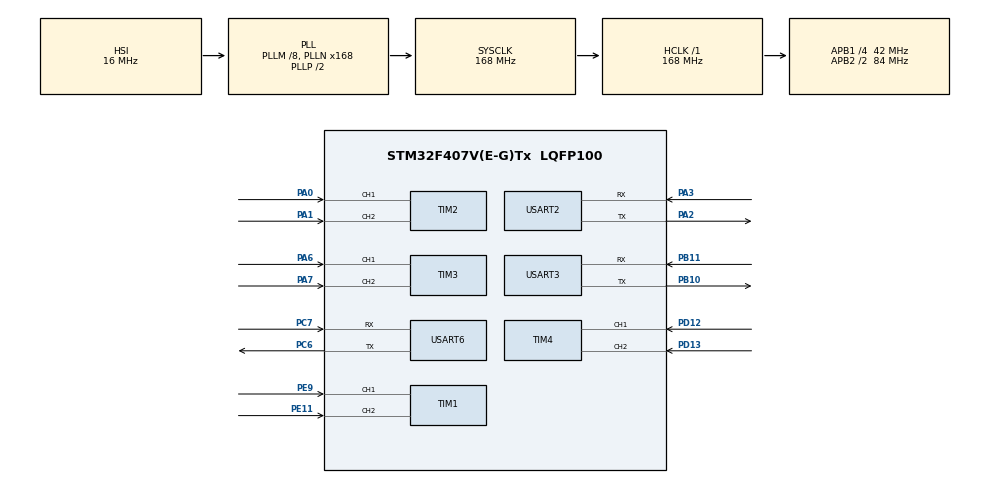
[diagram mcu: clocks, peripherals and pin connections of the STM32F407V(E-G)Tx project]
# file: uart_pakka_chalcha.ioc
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Dma.Request0=USART3_RX
Dma.Request1=USART3_TX
Dma.Request2=USART6_RX
Dma.Request3=USART6_TX
Dma.USART3_RX.0.Direction=DMA_PERIPH_TO_MEMORY
Dma.USART3_RX.0.FIFOMode=DMA_FIFOMODE_DISABLE
Dma.USART3_RX.0.Instance=DMA1_Stream1
Dma.USART3_RX.0.MemDataAlignment=DMA_MDATAALIGN_BYTE
Dma.USART3_RX.0.MemInc=DMA_MINC_ENABLE
Dma.USART3_RX.0.Mode=DMA_NORMAL
Dma.USART3_RX.0.PeriphDataAlignment=DMA_PDATAALIGN_BYTE
Dma.USART3_RX.0.PeriphInc=DMA_PINC_DISABLE
Dma.USART3_RX.0.Priority=DMA_PRIORITY_LOW
Dma.USART3_TX.1.Direction=DMA_MEMORY_TO_PERIPH
Dma.USART3_TX.1.FIFOMode=DMA_FIFOMODE_DISABLE
Dma.USART3_TX.1.Instance=DMA1_Stream3
Dma.USART3_TX.1.MemDataAlignment=DMA_MDATAALIGN_BYTE
Dma.USART3_TX.1.MemInc=DMA_MINC_ENABLE
Dma.USART3_TX.1.Mode=DMA_NORMAL
Dma.USART3_TX.1.PeriphDataAlignment=DMA_PDATAALIGN_BYTE
Dma.USART3_TX.1.PeriphInc=DMA_PINC_DISABLE
Dma.USART3_TX.1.Priority=DMA_PRIORITY_LOW
Dma.USART6_RX.2.Direction=DMA_PERIPH_TO_MEMORY
Dma.USART6_RX.2.FIFOMode=DMA_FIFOMODE_DISABLE
Dma.USART6_RX.2.Instance=DMA2_Stream1
Dma.USART6_RX.2.MemDataAlignment=DMA_MDATAALIGN_BYTE
Dma.USART6_RX.2.MemInc=DMA_MINC_ENABLE
Dma.USART6_RX.2.Mode=DMA_NORMAL
Dma.USART6_RX.2.PeriphDataAlignment=DMA_PDATAALIGN_BYTE
Dma.USART6_RX.2.PeriphInc=DMA_PINC_DISABLE
Dma.USART6_RX.2.Priority=DMA_PRIORITY_LOW
Dma.USART6_TX.3.Direction=DMA_MEMORY_TO_PERIPH
Dma.USART6_TX.3.FIFOMode=DMA_FIFOMODE_DISABLE
Dma.USART6_TX.3.Instance=DMA2_Stream6
Dma.USART6_TX.3.MemDataAlignment=DMA_MDATAALIGN_BYTE
Dma.USART6_TX.3.MemInc=DMA_MINC_ENABLE
Dma.USART6_TX.3.Mode=DMA_NORMAL
Dma.USART6_TX.3.PeriphDataAlignment=DMA_PDATAALIGN_BYTE
Dma.USART6_TX.3.PeriphInc=DMA_PINC_DISABLE
Dma.USART6_TX.3.Priority=DMA_PRIORITY_LOW
Mcu.Family=STM32F4
Mcu.Name=STM32F407V(E-G)Tx
Mcu.Package=LQFP100
NVIC.DMA1_Stream1_IRQn=true\:0\:0\:false\:false\:true\:false
NVIC.DMA1_Stream3_IRQn=true\:0\:0\:false\:false\:true\:false
NVIC.DMA2_Stream1_IRQn=true\:0\:0\:false\:false\:true\:false
NVIC.DMA2_Stream6_IRQn=true\:0\:0\:false\:false\:true\:false
NVIC.PriorityGroup=NVIC_PRIORITYGROUP_0
NVIC.USART3_IRQn=true\:0\:0\:false\:false\:true\:true
NVIC.USART6_IRQn=true\:0\:0\:false\:false\:true\:true
PA0-WKUP.Signal=S_TIM2_CH1_ETR
PA1.Signal=S_TIM2_CH2
PA13.Mode=Trace_Asynchronous_SW
PA13.Signal=SYS_JTMS-SWDIO
PA14.Mode=Trace_Asynchronous_SW
PA14.Signal=SYS_JTCK-SWCLK
PA2.Mode=Asynchronous
PA2.Signal=USART2_TX
PA3.Mode=Asynchronous
PA3.Signal=USART2_RX
PA6.Signal=S_TIM3_CH1
PA7.Signal=S_TIM3_CH2
PB10.Mode=Asynchronous
PB10.Signal=USART3_TX
PB11.Mode=Asynchronous
PB11.Signal=USART3_RX
PB3.Mode=Trace_Asynchronous_SW
PB3.Signal=SYS_JTDO-SWO
PC6.Mode=Asynchronous
PC6.Signal=USART6_TX
PC7.Mode=Asynchronous
PC7.Signal=USART6_RX
PD12.Signal=S_TIM4_CH1
PD13.Signal=S_TIM4_CH2
PE11.Signal=S_TIM1_CH2
PE9.Signal=S_TIM1_CH1
PH0-OSC_IN.Mode=HSE-External-Oscillator
PH0-OSC_IN.Signal=RCC_OSC_IN
PH1-OSC_OUT.Mode=HSE-External-Oscillator
PH1-OSC_OUT.Signal=RCC_OSC_OUT
ProjectManager.HeapSize=0x200
ProjectManager.StackSize=0x400
ProjectManager.TargetToolchain=MDK-ARM V5
RCC.48MHZClocksFreq_Value=48000000
RCC.AHBFreq_Value=168000000
RCC.APB1CLKDivider=RCC_HCLK_DIV4
RCC.APB1Freq_Value=42000000
RCC.APB1TimFreq_Value=84000000
RCC.APB2CLKDivider=RCC_HCLK_DIV2
RCC.APB2Freq_Value=84000000
RCC.APB2TimFreq_Value=168000000
RCC.CortexFreq_Value=168000000
RCC.HCLKFreq_Value=168000000
RCC.HSE_VALUE=8000000
RCC.HSI_VALUE=16000000
RCC.LSE_VALUE=32768
RCC.PLLM=8
RCC.PLLN=168
RCC.PLLQ=7
RCC.SYSCLKFreq_VALUE=168000000
RCC.SYSCLKSource=RCC_SYSCLKSOURCE_PLLCLK
RCC.VCOOutputFreq_Value=336000000
SH.S_TIM1_CH1.0=TIM1_CH1,Encoder_Interface
SH.S_TIM1_CH2.0=TIM1_CH2,Encoder_Interface
SH.S_TIM2_CH1_ETR.0=TIM2_CH1,Encoder_Interface
SH.S_TIM2_CH2.0=TIM2_CH2,Encoder_Interface
SH.S_TIM3_CH1.0=TIM3_CH1,Encoder_Interface
SH.S_TIM3_CH2.0=TIM3_CH2,Encoder_Interface
SH.S_TIM4_CH1.0=TIM4_CH1,Encoder_Interface
SH.S_TIM4_CH2.0=TIM4_CH2,Encoder_Interface
USART2.VirtualMode=VM_ASYNC
USART3.VirtualMode=VM_ASYNC
USART6.VirtualMode=VM_ASYNC
board=STM32F4DISCOVERY

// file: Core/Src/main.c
/**
  ******************************************************************************
  * @file           : main.c
  * @brief          : Main program body
  ******************************************************************************
  ** This notice applies to any and all portions of this file
  * that are not between comment pairs USER CODE BEGIN and
  * USER CODE END. Other portions of this file, whether
  * inserted by the user or by software development tools
  * are owned by their respective copyright owners.
  *
  * COPYRIGHT(c) 2018 STMicroelectronics
  *
  * Redistribution and use in source and binary forms, with or without modification,
  * are permitted provided that the following conditions are met:
  *   1. Redistributions of source code must retain the above copyright notice,
  *      this list of conditions and the following disclaimer.
  *   2. Redistributions in binary form must reproduce the above copyright notice,
  *      this list of conditions and the following disclaimer in the documentation
  *      and/or other materials provided with the distribution.
  *   3. Neither the name of STMicroelectronics nor the names of its contributors
  *      may be used to endorse or promote products derived from this software
  *      without specific prior written permission.
  *
  * THIS SOFTWARE IS PROVIDED BY THE COPYRIGHT HOLDERS AND CONTRIBUTORS "AS IS"
  * AND ANY EXPRESS OR IMPLIED WARRANTIES, INCLUDING, BUT NOT LIMITED TO, THE
  * IMPLIED WARRANTIES OF MERCHANTABILITY AND FITNESS FOR A PARTICULAR PURPOSE ARE
  * DISCLAIMED. IN NO EVENT SHALL THE COPYRIGHT HOLDER OR CONTRIBUTORS BE LIABLE
  * FOR ANY DIRECT, INDIRECT, INCIDENTAL, SPECIAL, EXEMPLARY, OR CONSEQUENTIAL
  * DAMAGES (INCLUDING, BUT NOT LIMITED TO, PROCUREMENT OF SUBSTITUTE GOODS OR
  * SERVICES; LOSS OF USE, DATA, OR PROFITS; OR BUSINESS INTERRUPTION) HOWEVER
  * CAUSED AND ON ANY THEORY OF LIABILITY, WHETHER IN CONTRACT, STRICT LIABILITY,
  * OR TORT (INCLUDING NEGLIGENCE OR OTHERWISE) ARISING IN ANY WAY OUT OF THE USE
  * OF THIS SOFTWARE, EVEN IF ADVISED OF THE POSSIBILITY OF SUCH DAMAGE.
  *
  ******************************************************************************
  */
#include "main.h"
#include "stm32f4xx_hal.h"
#include "dma.h"
#include "tim.h"
#include "usart.h"
#include "gpio.h"

/* USER CODE BEGIN Includes */
	#include "robot.h"
	#include "defines.h"
/* USER CODE END Includes */

/* USER CODE BEGIN PV */
/* Private variables ---------------------------------------------------------*/
extern float velocity[3];
extern struct Wheel Wheel_arr[4];
extern uint32_t receive_data_time, send_data_time;
/* USER CODE END PV */

void SystemClock_Config(void);

/* USER CODE BEGIN PFP */
/* Private function prototypes -----------------------------------------------*/

/* USER CODE END PFP */

/* USER CODE BEGIN 0 */

struct __FILE{

int handle;
};

FILE __stdout;
FILE __stdin;

int fputc(int ch, FILE *f)
{
	ITM_SendChar(ch);
	return(ch);
}

/* USER CODE END 0 */

int main(void)
{
  /* USER CODE BEGIN 1 */

	receive_data_time = HAL_GetTick();
	send_data_time = HAL_GetTick();

  /* USER CODE END 1 */

  /* MCU Configuration----------------------------------------------------------*/

  /* Reset of all peripherals, Initializes the Flash interface and the Systick. */
  HAL_Init();

  /* Configure the system clock */
  SystemClock_Config();

  /* Initialize all configured peripherals */
  MX_GPIO_Init();
  MX_DMA_Init();
  MX_USART3_UART_Init();
  MX_TIM1_Init();
  MX_TIM2_Init();
  MX_TIM3_Init();
  MX_TIM4_Init();
  MX_USART2_UART_Init();
  MX_USART6_UART_Init();
  /* USER CODE BEGIN 2 */
  wheel_init();
  int ok;
  ok = goto_distance(1000,1000,0);
  play();
  /* USER CODE END 2 */

  /* Infinite loop */
  /* USER CODE BEGIN WHILE */

//play();

  while (1)
  {

  /* USER CODE END WHILE */

  }

}

void SystemClock_Config(void)
{

  RCC_OscInitTypeDef RCC_OscInitStruct;
  RCC_ClkInitTypeDef RCC_ClkInitStruct;

    /**Configure the main internal regulator output voltage
    */
  __HAL_RCC_PWR_CLK_ENABLE();

  __HAL_PWR_VOLTAGESCALING_CONFIG(PWR_REGULATOR_VOLTAGE_SCALE1);

    /**Initializes the CPU, AHB and APB busses clocks
    */
  RCC_OscInitStruct.OscillatorType = RCC_OSCILLATORTYPE_HSI;
  RCC_OscInitStruct.HSIState = RCC_HSI_ON;
  RCC_OscInitStruct.HSICalibrationValue = 16;
  RCC_OscInitStruct.PLL.PLLState = RCC_PLL_ON;
  RCC_OscInitStruct.PLL.PLLSource = RCC_PLLSOURCE_HSI;
  RCC_OscInitStruct.PLL.PLLM = 8;
  RCC_OscInitStruct.PLL.PLLN = 168;
  RCC_OscInitStruct.PLL.PLLP = RCC_PLLP_DIV2;
  RCC_OscInitStruct.PLL.PLLQ = 7;
  if (HAL_RCC_OscConfig(&RCC_OscInitStruct) != HAL_OK)
  {
    _Error_Handler(__FILE__, __LINE__);
  }

    /**Initializes the CPU, AHB and APB busses clocks
    */
  RCC_ClkInitStruct.ClockType = RCC_CLOCKTYPE_HCLK|RCC_CLOCKTYPE_SYSCLK
                              |RCC_CLOCKTYPE_PCLK1|RCC_CLOCKTYPE_PCLK2;
  RCC_ClkInitStruct.SYSCLKSource = RCC_SYSCLKSOURCE_PLLCLK;
  RCC_ClkInitStruct.AHBCLKDivider = RCC_SYSCLK_DIV1;
  RCC_ClkInitStruct.APB1CLKDivider = RCC_HCLK_DIV4;
  RCC_ClkInitStruct.APB2CLKDivider = RCC_HCLK_DIV2;

  if (HAL_RCC_ClockConfig(&RCC_ClkInitStruct, FLASH_LATENCY_5) != HAL_OK)
  {
    _Error_Handler(__FILE__, __LINE__);
  }

    /**Configure the Systick interrupt time
    */
  HAL_SYSTICK_Config(HAL_RCC_GetHCLKFreq()/1000);

    /**Configure the Systick
    */
  HAL_SYSTICK_CLKSourceConfig(SYSTICK_CLKSOURCE_HCLK);

  /* SysTick_IRQn interrupt configuration */
  HAL_NVIC_SetPriority(SysTick_IRQn, 0, 0);
}

void _Error_Handler(char *file, int line)
{
  while(1)
  {
  }
}

/************************ (C) COPYRIGHT STMicroelectronics *****END OF FILE****/
